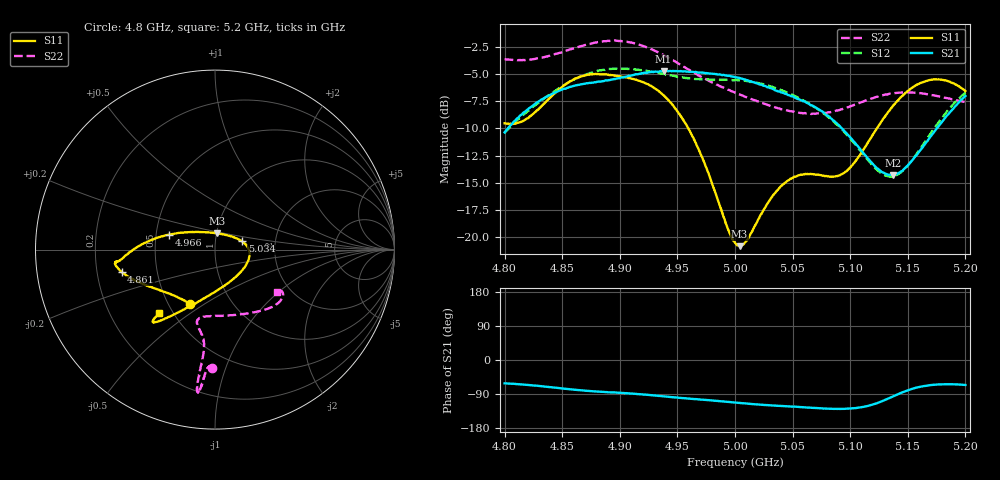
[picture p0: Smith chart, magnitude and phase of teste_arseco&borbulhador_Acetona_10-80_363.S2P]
! Network Analyzer HP8722D
! Hewlett-Packard
! Data name: Linha & Wilkinson
! Saver's name: Rodrigo Anjos
! Comments: Teste da utilização de aquisição
! continua pelo VNA HP8722D
! Time and date: 17/4/2025 17:23
!  Frequency  S11  S21  S12  S22
# HZ  S  MA R 50
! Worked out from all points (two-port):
!   401 points, 4.8 GHz to 5.2 GHz, reference 50 ohm
!   highest |S21| = -4.71 dB at 4.938 GHz (marker M1); lowest = -14.3 dB at 5.137 GHz (marker M2)
!   |S21| within 3 dB of the highest: 4.827 GHz to 5.064 GHz (236.7 MHz wide, 4.79 % of centre); 5.193385 GHz to end of sweep
!   lowest |S11| = -20.8 dB at 5.004 GHz (marker M3), VSWR 1.20, Z = 50.4 + j9.16 ohm
!   |S11| at or under -10 dB: 4.959 GHz to 5.123 GHz (163.6 MHz wide, 3.24 % of centre)
!   |S22| runs from -8.7 to -1.9 dB; largest |S21 - S12| = 0.88
!   S11 on the Smith chart (normalised r, x): 4.8 GHz: 0.64, -0.44; 4.861 GHz: 0.31, -0.11; 4.966 GHz: 0.58, +0.10; 5.034 GHz: 1.35, +0.13; 5.2 GHz: 0.42, -0.38
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4.8e9  0.334 -114.7  0.3032 -61.6  0.302 -176.0  0.6588 -91.3
4.819e9  0.3499 -134.6  0.3827 -65.5  0.3745 -175.4  0.6536 -93.0
4.861e9  0.5353 -166.4  0.4973 -78.5  0.5329 -179.0  0.7403 -95.4
4.867e9  0.5495 -168.8  0.505 -80.2  0.5497 -180.0  0.7568 -95.6
4.898e9  0.5504 -172.9  0.5364 -86.1  0.5951 174.0  0.7989 -96.9
4.934e9  0.4681 -178.7  0.5768 -94.9  0.5694 170.4  0.7035 -97.3
4.938e9  0.4492 179.4  0.5812 -95.9  0.5627 170.5  0.6879 -97.2
4.953e9  0.3597 171.6  0.5804 -100.0  0.5427 171.0  0.6202 -96.6
4.966e9  0.2706 162.2  0.5751 -103.2  0.5334 172.5  0.5633 -96.3
5e9  0.0944 97.4  0.5439 -112.3  0.5276 174.7  0.4618 -100.3
5.004e9  0.09095 82.3  0.5395 -113.4  0.5251 174.6  0.4527 -100.9
5.011e9  0.09772 58.4  0.5269 -115.3  0.5213 174.5  0.4381 -102.5
5.034e9  0.1581 16.9  0.4762 -120.3  0.4879 173.1  0.3964 -103.4
5.05e9  0.1874 0.9  0.4433 -123.0  0.4504 172.6  0.3779 -98.6
5.067e9  0.1952 -17.4  0.4037 -126.2  0.4031 172.3  0.369 -88.8
5.097e9  0.2013 -70.1  0.2995 -128.7  0.2964 174.5  0.3942 -65.3
5.121e9  0.3031 -107.6  0.2131 -116.3  0.2093 -170.3  0.4378 -49.3
5.134e9  0.3817 -118.1  0.1936 -100.5  0.1896 -152.2  0.4563 -43.0
5.137e9  0.4004 -119.9  0.1925 -96.4  0.1904 -147.5  0.4588 -41.8
5.148e9  0.4608 -124.9  0.2087 -82.1  0.2075 -131.4  0.4631 -37.8
5.17e9  0.5284 -130.0  0.2909 -66.2  0.3011 -112.3  0.4509 -32.8
5.2e9  0.4693 -131.4  0.4457 -65.9  0.4619 -108.4  0.4177 -34.6
